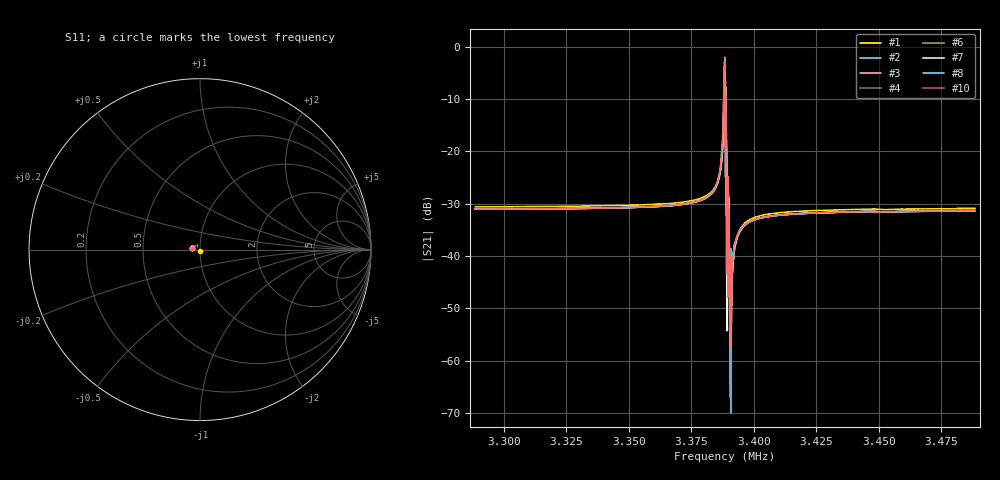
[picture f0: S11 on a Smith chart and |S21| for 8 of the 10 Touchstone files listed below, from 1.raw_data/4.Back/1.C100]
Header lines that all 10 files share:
# Hz S dB R 50.000
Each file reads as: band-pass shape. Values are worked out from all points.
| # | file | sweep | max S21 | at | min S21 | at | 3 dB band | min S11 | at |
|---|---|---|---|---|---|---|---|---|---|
| 1 | C100_20C.s2p | 3.289 MHz to 3.489 MHz | -5.46 dB | 3.389 MHz | -57.5 dB | 3.391 MHz | 3.388 MHz-3.389 MHz | -43.6 dB | 3.482 MHz |
| 2 | C100_25C.s2p | 3.289 MHz to 3.489 MHz | -6.59 dB | 3.389 MHz | -61.2 dB | 3.391 MHz | 3.388 MHz-3.389 MHz | -26.7 dB | 3.473 MHz |
| 3 | C100_30C.s2p | 3.289 MHz to 3.489 MHz | -6.78 dB | 3.389 MHz | -64.7 dB | 3.391 MHz | 3.388 MHz-3.389 MHz | -26.7 dB | 3.482 MHz |
| 4 | C100_35C.s2p | 3.289 MHz to 3.489 MHz | -5.08 dB | 3.389 MHz | -67.0 dB | 3.391 MHz | 3.388 MHz-3.389 MHz | -26.7 dB | 3.484 MHz |
| 5 | C100_40C.s2p | 3.289 MHz to 3.489 MHz | -3.80 dB | 3.389 MHz | -67.8 dB | 3.391 MHz | 3.388 MHz-3.389 MHz | -26.7 dB | 3.462 MHz |
| 6 | C100_45C.s2p | 3.289 MHz to 3.489 MHz | -2.70 dB | 3.389 MHz | -63.0 dB | 3.391 MHz | 3.388 MHz-3.389 MHz | -26.7 dB | 3.462 MHz |
| 7 | C100_50C.s2p | 3.288 MHz to 3.488 MHz | -3.05 dB | 3.388 MHz | -56.2 dB | 3.391 MHz | 3.388 MHz-3.389 MHz | -26.7 dB | 3.473 MHz |
| 8 | C100_55C.s2p | 3.288 MHz to 3.488 MHz | -2.02 dB | 3.388 MHz | -70.0 dB | 3.391 MHz | 3.388 MHz-3.388 MHz | -26.7 dB | 3.454 MHz |
| 9 | C100_60C.s2p | 3.288 MHz to 3.488 MHz | -1.65 dB | 3.388 MHz | -65.9 dB | 3.391 MHz | 3.388 MHz-3.388 MHz | -26.7 dB | 3.479 MHz |
| 10 | C100_65C.s2p | 3.288 MHz to 3.488 MHz | -2.73 dB | 3.388 MHz | -57.2 dB | 3.391 MHz | 3.388 MHz-3.388 MHz | -26.7 dB | 3.485 MHz |
